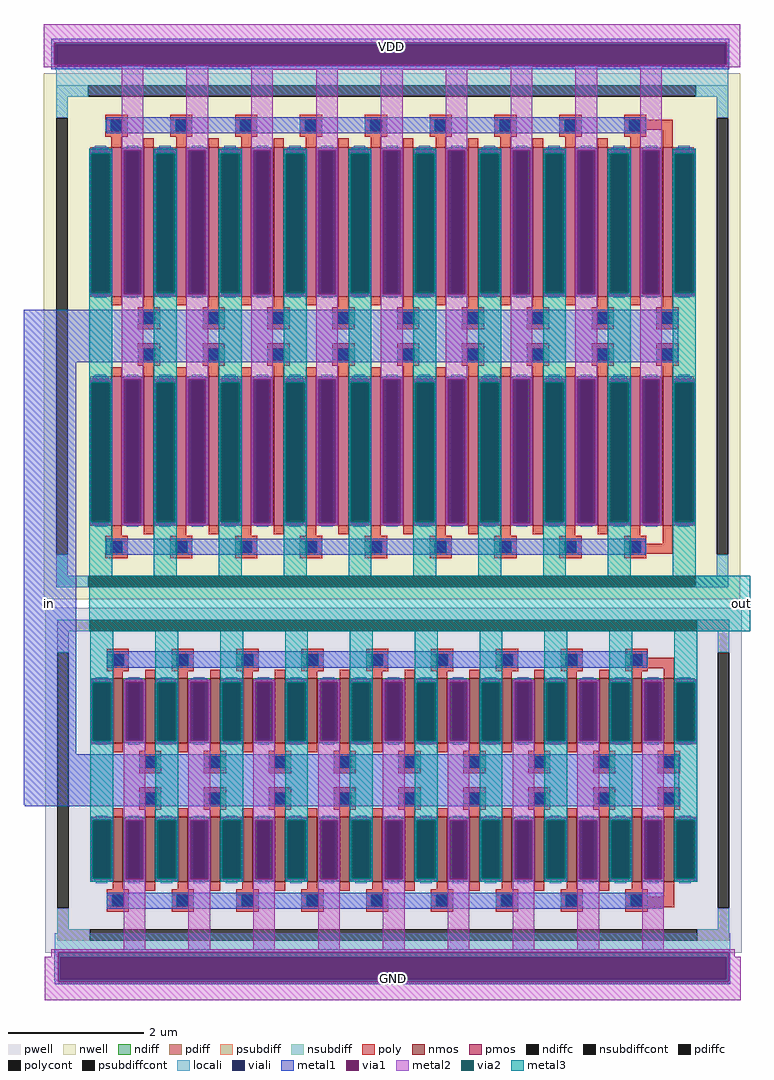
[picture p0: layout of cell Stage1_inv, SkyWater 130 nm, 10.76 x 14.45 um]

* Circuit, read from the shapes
.subckt Stage1_inv GND out VDD in
XM1 GND in out GND sky130_fd_pr__nfet_01v8 w=0.96 l=0.15 m=36
XM2 VDD in out VDD sky130_fd_pr__pfet_01v8 w=2.21 l=0.15 m=36
.ends

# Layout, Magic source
magic
tech sky130A
magscale 1 2
<< nwell >>
rect 124 792 188 1230
rect 316 792 380 1230
rect 508 792 572 1230
rect 700 792 764 1230
rect 892 792 956 1230
rect 1084 792 1148 1230
rect 1276 792 1340 1230
rect 1468 792 1532 1230
rect 1660 792 1724 1230
rect 124 114 188 552
rect 316 114 380 552
rect 508 114 572 552
rect 700 114 764 552
rect 892 114 956 552
rect 1084 114 1148 552
rect 1276 114 1340 552
rect 1468 114 1532 552
rect 1660 114 1724 552
<< pdiff >>
rect 124 1221 188 1230
rect 124 803 140 1221
rect 174 803 188 1221
rect 124 792 188 803
rect 316 1221 380 1230
rect 316 803 332 1221
rect 366 803 380 1221
rect 316 792 380 803
rect 508 1221 572 1230
rect 508 803 524 1221
rect 558 803 572 1221
rect 508 792 572 803
rect 700 1221 764 1230
rect 700 803 716 1221
rect 750 803 764 1221
rect 700 792 764 803
rect 892 1221 956 1230
rect 892 803 908 1221
rect 942 803 956 1221
rect 892 792 956 803
rect 1084 1221 1148 1230
rect 1084 803 1100 1221
rect 1134 803 1148 1221
rect 1084 792 1148 803
rect 1276 1221 1340 1230
rect 1276 803 1292 1221
rect 1326 803 1340 1221
rect 1276 792 1340 803
rect 1468 1221 1532 1230
rect 1468 803 1484 1221
rect 1518 803 1532 1221
rect 1468 792 1532 803
rect 1660 1221 1724 1230
rect 1660 803 1676 1221
rect 1710 803 1724 1221
rect 1660 792 1724 803
rect 124 543 188 552
rect 124 125 140 543
rect 174 125 188 543
rect 124 114 188 125
rect 316 543 380 552
rect 316 125 332 543
rect 366 125 380 543
rect 316 114 380 125
rect 508 543 572 552
rect 508 125 524 543
rect 558 125 572 543
rect 508 114 572 125
rect 700 543 764 552
rect 700 125 716 543
rect 750 125 764 543
rect 700 114 764 125
rect 892 543 956 552
rect 892 125 908 543
rect 942 125 956 543
rect 892 114 956 125
rect 1084 543 1148 552
rect 1084 125 1100 543
rect 1134 125 1148 543
rect 1084 114 1148 125
rect 1276 543 1340 552
rect 1276 125 1292 543
rect 1326 125 1340 543
rect 1276 114 1340 125
rect 1468 543 1532 552
rect 1468 125 1484 543
rect 1518 125 1532 543
rect 1468 114 1532 125
rect 1660 543 1724 552
rect 1660 125 1676 543
rect 1710 125 1724 543
rect 1660 114 1724 125
<< pdiffc >>
rect 140 803 174 1221
rect 332 803 366 1221
rect 524 803 558 1221
rect 716 803 750 1221
rect 908 803 942 1221
rect 1100 803 1134 1221
rect 1292 803 1326 1221
rect 1484 803 1518 1221
rect 1676 803 1710 1221
rect 140 125 174 543
rect 332 125 366 543
rect 524 125 558 543
rect 716 125 750 543
rect 908 125 942 543
rect 1100 125 1134 543
rect 1292 125 1326 543
rect 1484 125 1518 543
rect 1676 125 1710 543
<< poly >>
rect 1659 1289 1756 1315
rect 1665 1285 1756 1289
rect 1726 1233 1756 1285
rect 1726 59 1756 113
rect 1673 55 1756 59
rect 1663 29 1756 55
rect 1665 -305 1760 -279
rect 1675 -309 1760 -305
rect 1730 -340 1760 -309
rect 1730 -987 1760 -942
rect 1669 -1017 1760 -987
<< locali >>
rect -72 1536 1920 1538
rect -72 1474 -68 1536
rect 1912 1474 1920 1536
rect -72 1462 1920 1474
rect -70 1388 1920 1462
rect 140 1221 174 1230
rect 140 792 174 803
rect 332 1221 366 1230
rect 332 792 366 803
rect 524 1221 558 1230
rect 524 792 558 803
rect 716 1221 750 1230
rect 716 792 750 803
rect 908 1221 942 1230
rect 908 792 942 803
rect 1100 1221 1134 1230
rect 1100 792 1134 803
rect 1292 1221 1326 1230
rect 1292 792 1326 803
rect 1484 1221 1518 1230
rect 1484 792 1518 803
rect 1676 1221 1710 1230
rect 1676 792 1710 803
rect 140 543 174 552
rect 140 114 174 125
rect 332 543 366 552
rect 332 114 366 125
rect 524 543 558 552
rect 524 114 558 125
rect 716 543 750 552
rect 716 114 750 125
rect 908 543 942 552
rect 908 114 942 125
rect 1100 543 1134 552
rect 1100 114 1134 125
rect 1292 543 1326 552
rect 1292 114 1326 125
rect 1484 543 1518 552
rect 1484 114 1518 125
rect 1676 543 1710 552
rect 1676 114 1710 125
rect -74 -1158 1926 -1094
rect -66 -1166 1926 -1158
rect -66 -1200 -58 -1166
rect -64 -1230 -58 -1200
rect 1914 -1230 1926 -1166
rect -64 -1242 1926 -1230
<< viali >>
rect -68 1474 1912 1536
rect 140 803 174 1221
rect 332 803 366 1221
rect 524 803 558 1221
rect 716 803 750 1221
rect 908 803 942 1221
rect 1100 803 1134 1221
rect 1292 803 1326 1221
rect 1484 803 1518 1221
rect 1676 803 1710 1221
rect 140 125 174 543
rect 332 125 366 543
rect 524 125 558 543
rect 716 125 750 543
rect 908 125 942 543
rect 1100 125 1134 543
rect 1292 125 1326 543
rect 1484 125 1518 543
rect 1676 125 1710 543
rect -58 -1230 1914 -1166
<< metal1 >>
rect -84 1542 1924 1554
rect -84 1478 -76 1542
rect 1916 1478 1924 1542
rect -84 1474 -68 1478
rect 1912 1474 1924 1478
rect -84 1464 1924 1474
rect 78 1274 1676 1322
rect 30 1220 94 1226
rect 30 798 36 1220
rect 88 798 94 1220
rect 30 792 94 798
rect 124 1224 188 1230
rect 124 798 130 1224
rect 182 798 188 1224
rect 124 792 188 798
rect 222 1220 286 1226
rect 222 798 228 1220
rect 280 798 286 1220
rect 222 792 286 798
rect 316 1224 380 1230
rect 316 798 322 1224
rect 374 798 380 1224
rect 316 792 380 798
rect 414 1220 478 1226
rect 414 798 420 1220
rect 472 798 478 1220
rect 414 792 478 798
rect 508 1224 572 1230
rect 508 798 514 1224
rect 566 798 572 1224
rect 508 792 572 798
rect 606 1220 670 1226
rect 606 798 612 1220
rect 664 798 670 1220
rect 606 792 670 798
rect 700 1224 764 1230
rect 700 798 706 1224
rect 758 798 764 1224
rect 700 792 764 798
rect 798 1220 862 1226
rect 798 798 804 1220
rect 856 798 862 1220
rect 798 792 862 798
rect 892 1224 956 1230
rect 892 798 898 1224
rect 950 798 956 1224
rect 892 792 956 798
rect 990 1220 1054 1226
rect 990 798 996 1220
rect 1048 798 1054 1220
rect 990 792 1054 798
rect 1084 1224 1148 1230
rect 1084 798 1090 1224
rect 1142 798 1148 1224
rect 1084 792 1148 798
rect 1182 1220 1246 1226
rect 1182 798 1188 1220
rect 1240 798 1246 1220
rect 1182 792 1246 798
rect 1276 1224 1340 1230
rect 1276 798 1282 1224
rect 1334 798 1340 1224
rect 1276 792 1340 798
rect 1374 1220 1438 1226
rect 1374 798 1380 1220
rect 1432 798 1438 1220
rect 1374 792 1438 798
rect 1468 1224 1532 1230
rect 1468 798 1474 1224
rect 1526 798 1532 1224
rect 1468 792 1532 798
rect 1566 1220 1630 1226
rect 1566 798 1572 1220
rect 1624 798 1630 1220
rect 1566 792 1630 798
rect 1660 1224 1724 1230
rect 1660 798 1666 1224
rect 1718 798 1724 1224
rect 1660 792 1724 798
rect 1758 1220 1822 1226
rect 1758 798 1764 1220
rect 1816 798 1822 1220
rect 1758 792 1822 798
rect -166 596 1772 752
rect -166 -564 -10 596
rect 30 542 94 548
rect 30 120 36 542
rect 88 120 94 542
rect 30 114 94 120
rect 124 546 188 552
rect 124 120 130 546
rect 182 120 188 546
rect 124 114 188 120
rect 222 542 286 548
rect 222 120 228 542
rect 280 120 286 542
rect 222 114 286 120
rect 316 546 380 552
rect 316 120 322 546
rect 374 120 380 546
rect 316 114 380 120
rect 414 542 478 548
rect 414 120 420 542
rect 472 120 478 542
rect 414 114 478 120
rect 508 546 572 552
rect 508 120 514 546
rect 566 120 572 546
rect 508 114 572 120
rect 606 542 670 548
rect 606 120 612 542
rect 664 120 670 542
rect 606 114 670 120
rect 700 546 764 552
rect 700 120 706 546
rect 758 120 764 546
rect 700 114 764 120
rect 798 542 862 548
rect 798 120 804 542
rect 856 120 862 542
rect 798 114 862 120
rect 892 546 956 552
rect 892 120 898 546
rect 950 120 956 546
rect 892 114 956 120
rect 990 542 1054 548
rect 990 120 996 542
rect 1048 120 1054 542
rect 990 114 1054 120
rect 1084 546 1148 552
rect 1084 120 1090 546
rect 1142 120 1148 546
rect 1084 114 1148 120
rect 1182 542 1246 548
rect 1182 120 1188 542
rect 1240 120 1246 542
rect 1182 114 1246 120
rect 1276 546 1340 552
rect 1276 120 1282 546
rect 1334 120 1340 546
rect 1276 114 1340 120
rect 1374 542 1438 548
rect 1374 120 1380 542
rect 1432 120 1438 542
rect 1374 114 1438 120
rect 1468 546 1532 552
rect 1468 120 1474 546
rect 1526 120 1532 546
rect 1468 114 1532 120
rect 1566 542 1630 548
rect 1566 120 1572 542
rect 1624 120 1630 542
rect 1566 114 1630 120
rect 1660 546 1724 552
rect 1660 120 1666 546
rect 1718 120 1724 546
rect 1660 114 1724 120
rect 1758 542 1822 548
rect 1758 120 1764 542
rect 1816 120 1822 542
rect 1758 114 1822 120
rect 78 26 1676 74
rect 82 -308 1680 -260
rect 34 -350 98 -344
rect 34 -526 40 -350
rect 92 -526 98 -350
rect 34 -532 98 -526
rect 130 -350 194 -344
rect 130 -524 136 -350
rect 188 -524 194 -350
rect 130 -530 194 -524
rect 226 -350 290 -344
rect 226 -526 232 -350
rect 284 -526 290 -350
rect 226 -532 290 -526
rect 322 -350 386 -344
rect 322 -524 328 -350
rect 380 -524 386 -350
rect 322 -530 386 -524
rect 418 -350 482 -344
rect 418 -526 424 -350
rect 476 -526 482 -350
rect 418 -532 482 -526
rect 514 -350 578 -344
rect 514 -524 520 -350
rect 572 -524 578 -350
rect 514 -530 578 -524
rect 610 -350 674 -344
rect 610 -526 616 -350
rect 668 -526 674 -350
rect 610 -532 674 -526
rect 706 -350 770 -344
rect 706 -524 712 -350
rect 764 -524 770 -350
rect 706 -530 770 -524
rect 802 -350 866 -344
rect 802 -526 808 -350
rect 860 -526 866 -350
rect 802 -532 866 -526
rect 898 -350 962 -344
rect 898 -524 904 -350
rect 956 -524 962 -350
rect 898 -530 962 -524
rect 994 -350 1058 -344
rect 994 -526 1000 -350
rect 1052 -526 1058 -350
rect 994 -532 1058 -526
rect 1090 -350 1154 -344
rect 1090 -524 1096 -350
rect 1148 -524 1154 -350
rect 1090 -530 1154 -524
rect 1186 -350 1250 -344
rect 1186 -526 1192 -350
rect 1244 -526 1250 -350
rect 1186 -532 1250 -526
rect 1282 -350 1346 -344
rect 1282 -524 1288 -350
rect 1340 -524 1346 -350
rect 1282 -530 1346 -524
rect 1378 -350 1442 -344
rect 1378 -526 1384 -350
rect 1436 -526 1442 -350
rect 1378 -532 1442 -526
rect 1474 -350 1538 -344
rect 1474 -524 1480 -350
rect 1532 -524 1538 -350
rect 1474 -530 1538 -524
rect 1570 -350 1634 -344
rect 1570 -526 1576 -350
rect 1628 -526 1634 -350
rect 1570 -532 1634 -526
rect 1666 -350 1730 -344
rect 1666 -524 1672 -350
rect 1724 -524 1730 -350
rect 1666 -530 1730 -524
rect 1762 -350 1826 -344
rect 1762 -526 1768 -350
rect 1820 -526 1826 -350
rect 1762 -532 1826 -526
rect -166 -714 1776 -564
rect -163 -718 1776 -714
rect 34 -758 98 -752
rect 34 -934 40 -758
rect 92 -934 98 -758
rect 34 -940 98 -934
rect 130 -760 194 -754
rect 130 -934 136 -760
rect 188 -934 194 -760
rect 130 -940 194 -934
rect 226 -758 290 -752
rect 226 -934 232 -758
rect 284 -934 290 -758
rect 226 -940 290 -934
rect 322 -760 386 -754
rect 322 -934 328 -760
rect 380 -934 386 -760
rect 322 -940 386 -934
rect 418 -758 482 -752
rect 418 -934 424 -758
rect 476 -934 482 -758
rect 418 -940 482 -934
rect 514 -760 578 -754
rect 514 -934 520 -760
rect 572 -934 578 -760
rect 514 -940 578 -934
rect 610 -758 674 -752
rect 610 -934 616 -758
rect 668 -934 674 -758
rect 610 -940 674 -934
rect 706 -760 770 -754
rect 706 -934 712 -760
rect 764 -934 770 -760
rect 706 -940 770 -934
rect 802 -758 866 -752
rect 802 -934 808 -758
rect 860 -934 866 -758
rect 802 -940 866 -934
rect 898 -760 962 -754
rect 898 -934 904 -760
rect 956 -934 962 -760
rect 898 -940 962 -934
rect 994 -758 1058 -752
rect 994 -934 1000 -758
rect 1052 -934 1058 -758
rect 994 -940 1058 -934
rect 1090 -760 1154 -754
rect 1090 -934 1096 -760
rect 1148 -934 1154 -760
rect 1090 -940 1154 -934
rect 1186 -758 1250 -752
rect 1186 -934 1192 -758
rect 1244 -934 1250 -758
rect 1186 -940 1250 -934
rect 1282 -760 1346 -754
rect 1282 -934 1288 -760
rect 1340 -934 1346 -760
rect 1282 -940 1346 -934
rect 1378 -758 1442 -752
rect 1378 -934 1384 -758
rect 1436 -934 1442 -758
rect 1378 -940 1442 -934
rect 1474 -760 1538 -754
rect 1474 -934 1480 -760
rect 1532 -934 1538 -760
rect 1474 -940 1538 -934
rect 1570 -758 1634 -752
rect 1570 -934 1576 -758
rect 1628 -934 1634 -758
rect 1570 -940 1634 -934
rect 1666 -760 1730 -754
rect 1666 -934 1672 -760
rect 1724 -934 1730 -760
rect 1666 -940 1730 -934
rect 1762 -758 1826 -752
rect 1762 -934 1768 -758
rect 1820 -934 1826 -758
rect 1762 -940 1826 -934
rect 80 -1022 1730 -974
rect -76 -1148 1924 -1142
rect -76 -1150 1926 -1148
rect -76 -1234 -64 -1150
rect -74 -1238 -64 -1234
rect 1922 -1238 1926 -1150
rect -74 -1246 1926 -1238
<< via1 >>
rect -76 1536 1916 1542
rect -76 1478 -68 1536
rect -68 1478 1912 1536
rect 1912 1478 1916 1536
rect 36 798 88 1220
rect 130 1221 182 1224
rect 130 803 140 1221
rect 140 803 174 1221
rect 174 803 182 1221
rect 130 798 182 803
rect 228 798 280 1220
rect 322 1221 374 1224
rect 322 803 332 1221
rect 332 803 366 1221
rect 366 803 374 1221
rect 322 798 374 803
rect 420 798 472 1220
rect 514 1221 566 1224
rect 514 803 524 1221
rect 524 803 558 1221
rect 558 803 566 1221
rect 514 798 566 803
rect 612 798 664 1220
rect 706 1221 758 1224
rect 706 803 716 1221
rect 716 803 750 1221
rect 750 803 758 1221
rect 706 798 758 803
rect 804 798 856 1220
rect 898 1221 950 1224
rect 898 803 908 1221
rect 908 803 942 1221
rect 942 803 950 1221
rect 898 798 950 803
rect 996 798 1048 1220
rect 1090 1221 1142 1224
rect 1090 803 1100 1221
rect 1100 803 1134 1221
rect 1134 803 1142 1221
rect 1090 798 1142 803
rect 1188 798 1240 1220
rect 1282 1221 1334 1224
rect 1282 803 1292 1221
rect 1292 803 1326 1221
rect 1326 803 1334 1221
rect 1282 798 1334 803
rect 1380 798 1432 1220
rect 1474 1221 1526 1224
rect 1474 803 1484 1221
rect 1484 803 1518 1221
rect 1518 803 1526 1221
rect 1474 798 1526 803
rect 1572 798 1624 1220
rect 1666 1221 1718 1224
rect 1666 803 1676 1221
rect 1676 803 1710 1221
rect 1710 803 1718 1221
rect 1666 798 1718 803
rect 1764 798 1816 1220
rect 36 120 88 542
rect 130 543 182 546
rect 130 125 140 543
rect 140 125 174 543
rect 174 125 182 543
rect 130 120 182 125
rect 228 120 280 542
rect 322 543 374 546
rect 322 125 332 543
rect 332 125 366 543
rect 366 125 374 543
rect 322 120 374 125
rect 420 120 472 542
rect 514 543 566 546
rect 514 125 524 543
rect 524 125 558 543
rect 558 125 566 543
rect 514 120 566 125
rect 612 120 664 542
rect 706 543 758 546
rect 706 125 716 543
rect 716 125 750 543
rect 750 125 758 543
rect 706 120 758 125
rect 804 120 856 542
rect 898 543 950 546
rect 898 125 908 543
rect 908 125 942 543
rect 942 125 950 543
rect 898 120 950 125
rect 996 120 1048 542
rect 1090 543 1142 546
rect 1090 125 1100 543
rect 1100 125 1134 543
rect 1134 125 1142 543
rect 1090 120 1142 125
rect 1188 120 1240 542
rect 1282 543 1334 546
rect 1282 125 1292 543
rect 1292 125 1326 543
rect 1326 125 1334 543
rect 1282 120 1334 125
rect 1380 120 1432 542
rect 1474 543 1526 546
rect 1474 125 1484 543
rect 1484 125 1518 543
rect 1518 125 1526 543
rect 1474 120 1526 125
rect 1572 120 1624 542
rect 1666 543 1718 546
rect 1666 125 1676 543
rect 1676 125 1710 543
rect 1710 125 1718 543
rect 1666 120 1718 125
rect 1764 120 1816 542
rect 40 -526 92 -350
rect 136 -524 188 -350
rect 232 -526 284 -350
rect 328 -524 380 -350
rect 424 -526 476 -350
rect 520 -524 572 -350
rect 616 -526 668 -350
rect 712 -524 764 -350
rect 808 -526 860 -350
rect 904 -524 956 -350
rect 1000 -526 1052 -350
rect 1096 -524 1148 -350
rect 1192 -526 1244 -350
rect 1288 -524 1340 -350
rect 1384 -526 1436 -350
rect 1480 -524 1532 -350
rect 1576 -526 1628 -350
rect 1672 -524 1724 -350
rect 1768 -526 1820 -350
rect 40 -934 92 -758
rect 136 -934 188 -760
rect 232 -934 284 -758
rect 328 -934 380 -760
rect 424 -934 476 -758
rect 520 -934 572 -760
rect 616 -934 668 -758
rect 712 -934 764 -760
rect 808 -934 860 -758
rect 904 -934 956 -760
rect 1000 -934 1052 -758
rect 1096 -934 1148 -760
rect 1192 -934 1244 -758
rect 1288 -934 1340 -760
rect 1384 -934 1436 -758
rect 1480 -934 1532 -760
rect 1576 -934 1628 -758
rect 1672 -934 1724 -760
rect 1768 -934 1820 -758
rect -64 -1166 1922 -1150
rect -64 -1230 -58 -1166
rect -58 -1230 1914 -1166
rect 1914 -1230 1922 -1166
rect -64 -1238 1922 -1230
<< metal2 >>
rect -106 1542 1956 1598
rect -106 1478 -76 1542
rect 1916 1478 1956 1542
rect -106 1470 1956 1478
rect 30 1220 94 1226
rect 30 1214 36 1220
rect 88 1214 94 1220
rect 30 802 34 1214
rect 90 802 94 1214
rect 30 798 36 802
rect 88 798 94 802
rect 30 792 94 798
rect 124 1224 188 1470
rect 124 798 130 1224
rect 182 798 188 1224
rect 30 542 94 548
rect 30 536 36 542
rect 88 536 94 542
rect 30 124 34 536
rect 90 124 94 536
rect 30 120 36 124
rect 88 120 94 124
rect 30 114 94 120
rect 124 546 188 798
rect 222 1220 286 1226
rect 222 1214 228 1220
rect 280 1214 286 1220
rect 222 802 226 1214
rect 282 802 286 1214
rect 222 798 228 802
rect 280 798 286 802
rect 222 792 286 798
rect 316 1224 380 1470
rect 508 1462 1242 1470
rect 316 798 322 1224
rect 374 798 380 1224
rect 124 120 130 546
rect 182 120 188 546
rect 124 114 188 120
rect 222 542 286 548
rect 222 536 228 542
rect 280 536 286 542
rect 222 124 226 536
rect 282 124 286 536
rect 222 120 228 124
rect 280 120 286 124
rect 222 114 286 120
rect 316 546 380 798
rect 414 1220 478 1226
rect 414 1214 420 1220
rect 472 1214 478 1220
rect 414 802 418 1214
rect 474 802 478 1214
rect 414 798 420 802
rect 472 798 478 802
rect 414 792 478 798
rect 508 1224 572 1462
rect 508 798 514 1224
rect 566 798 572 1224
rect 316 120 322 546
rect 374 120 380 546
rect 316 114 380 120
rect 414 542 478 548
rect 414 536 420 542
rect 472 536 478 542
rect 414 124 418 536
rect 474 124 478 536
rect 414 120 420 124
rect 472 120 478 124
rect 414 114 478 120
rect 508 546 572 798
rect 606 1220 670 1226
rect 606 1214 612 1220
rect 664 1214 670 1220
rect 606 802 610 1214
rect 666 802 670 1214
rect 606 798 612 802
rect 664 798 670 802
rect 606 792 670 798
rect 700 1224 764 1462
rect 700 798 706 1224
rect 758 798 764 1224
rect 508 120 514 546
rect 566 120 572 546
rect 508 114 572 120
rect 606 542 670 548
rect 606 536 612 542
rect 664 536 670 542
rect 606 124 610 536
rect 666 124 670 536
rect 606 120 612 124
rect 664 120 670 124
rect 606 114 670 120
rect 700 546 764 798
rect 798 1220 862 1226
rect 798 1214 804 1220
rect 856 1214 862 1220
rect 798 802 802 1214
rect 858 802 862 1214
rect 798 798 804 802
rect 856 798 862 802
rect 798 792 862 798
rect 892 1224 956 1462
rect 892 798 898 1224
rect 950 798 956 1224
rect 700 120 706 546
rect 758 120 764 546
rect 700 114 764 120
rect 798 542 862 548
rect 798 536 804 542
rect 856 536 862 542
rect 798 124 802 536
rect 858 124 862 536
rect 798 120 804 124
rect 856 120 862 124
rect 798 114 862 120
rect 892 546 956 798
rect 990 1220 1054 1226
rect 990 1214 996 1220
rect 1048 1214 1054 1220
rect 990 802 994 1214
rect 1050 802 1054 1214
rect 990 798 996 802
rect 1048 798 1054 802
rect 990 792 1054 798
rect 1084 1224 1148 1462
rect 1084 798 1090 1224
rect 1142 798 1148 1224
rect 892 120 898 546
rect 950 120 956 546
rect 892 114 956 120
rect 990 542 1054 548
rect 990 536 996 542
rect 1048 536 1054 542
rect 990 124 994 536
rect 1050 124 1054 536
rect 990 120 996 124
rect 1048 120 1054 124
rect 990 114 1054 120
rect 1084 546 1148 798
rect 1182 1220 1246 1226
rect 1182 1214 1188 1220
rect 1240 1214 1246 1220
rect 1182 802 1186 1214
rect 1242 802 1246 1214
rect 1182 798 1188 802
rect 1240 798 1246 802
rect 1182 792 1246 798
rect 1276 1224 1340 1470
rect 1276 798 1282 1224
rect 1334 798 1340 1224
rect 1084 120 1090 546
rect 1142 120 1148 546
rect 1084 114 1148 120
rect 1182 542 1246 548
rect 1182 536 1188 542
rect 1240 536 1246 542
rect 1182 124 1186 536
rect 1242 124 1246 536
rect 1182 120 1188 124
rect 1240 120 1246 124
rect 1182 114 1246 120
rect 1276 546 1340 798
rect 1374 1220 1438 1226
rect 1374 1214 1380 1220
rect 1432 1214 1438 1220
rect 1374 802 1378 1214
rect 1434 802 1438 1214
rect 1374 798 1380 802
rect 1432 798 1438 802
rect 1374 792 1438 798
rect 1468 1224 1532 1470
rect 1468 798 1474 1224
rect 1526 798 1532 1224
rect 1276 120 1282 546
rect 1334 120 1340 546
rect 1276 114 1340 120
rect 1374 542 1438 548
rect 1374 536 1380 542
rect 1432 536 1438 542
rect 1374 124 1378 536
rect 1434 124 1438 536
rect 1374 120 1380 124
rect 1432 120 1438 124
rect 1374 114 1438 120
rect 1468 546 1532 798
rect 1566 1220 1630 1226
rect 1566 1214 1572 1220
rect 1624 1214 1630 1220
rect 1566 802 1570 1214
rect 1626 802 1630 1214
rect 1566 798 1572 802
rect 1624 798 1630 802
rect 1566 792 1630 798
rect 1660 1224 1724 1470
rect 1660 798 1666 1224
rect 1718 798 1724 1224
rect 1468 120 1474 546
rect 1526 120 1532 546
rect 1468 114 1532 120
rect 1566 542 1630 548
rect 1566 536 1572 542
rect 1624 536 1630 542
rect 1566 124 1570 536
rect 1626 124 1630 536
rect 1566 120 1572 124
rect 1624 120 1630 124
rect 1566 114 1630 120
rect 1660 546 1724 798
rect 1758 1220 1822 1226
rect 1758 1214 1764 1220
rect 1816 1214 1822 1220
rect 1758 802 1762 1214
rect 1818 802 1822 1214
rect 1758 798 1764 802
rect 1816 798 1822 802
rect 1758 792 1822 798
rect 1660 120 1666 546
rect 1718 120 1724 546
rect 1660 114 1724 120
rect 1758 542 1822 548
rect 1758 536 1764 542
rect 1816 536 1822 542
rect 1758 124 1762 536
rect 1818 124 1822 536
rect 1758 120 1764 124
rect 1816 120 1822 124
rect 1758 114 1822 120
rect 34 -350 100 -342
rect 34 -352 40 -350
rect 92 -352 100 -350
rect 34 -524 38 -352
rect 94 -524 100 -352
rect 34 -526 40 -524
rect 92 -526 100 -524
rect 34 -534 100 -526
rect 130 -350 194 -344
rect 130 -524 136 -350
rect 188 -524 194 -350
rect 34 -758 100 -750
rect 34 -760 40 -758
rect 92 -760 100 -758
rect 34 -932 38 -760
rect 94 -932 100 -760
rect 34 -934 40 -932
rect 92 -934 100 -932
rect 34 -942 100 -934
rect 130 -760 194 -524
rect 226 -350 292 -342
rect 226 -352 232 -350
rect 284 -352 292 -350
rect 226 -524 230 -352
rect 286 -524 292 -352
rect 226 -526 232 -524
rect 284 -526 292 -524
rect 226 -534 292 -526
rect 322 -350 386 -344
rect 322 -524 328 -350
rect 380 -524 386 -350
rect 130 -934 136 -760
rect 188 -934 194 -760
rect 130 -1142 194 -934
rect 226 -758 292 -750
rect 226 -760 232 -758
rect 284 -760 292 -758
rect 226 -932 230 -760
rect 286 -932 292 -760
rect 226 -934 232 -932
rect 284 -934 292 -932
rect 226 -942 292 -934
rect 322 -760 386 -524
rect 418 -350 484 -342
rect 418 -352 424 -350
rect 476 -352 484 -350
rect 418 -524 422 -352
rect 478 -524 484 -352
rect 418 -526 424 -524
rect 476 -526 484 -524
rect 418 -534 484 -526
rect 514 -350 578 -344
rect 514 -524 520 -350
rect 572 -524 578 -350
rect 322 -934 328 -760
rect 380 -934 386 -760
rect 322 -1142 386 -934
rect 418 -758 484 -750
rect 418 -760 424 -758
rect 476 -760 484 -758
rect 418 -932 422 -760
rect 478 -932 484 -760
rect 418 -934 424 -932
rect 476 -934 484 -932
rect 418 -942 484 -934
rect 514 -760 578 -524
rect 610 -350 676 -342
rect 610 -352 616 -350
rect 668 -352 676 -350
rect 610 -524 614 -352
rect 670 -524 676 -352
rect 610 -526 616 -524
rect 668 -526 676 -524
rect 610 -534 676 -526
rect 706 -350 770 -344
rect 706 -524 712 -350
rect 764 -524 770 -350
rect 514 -934 520 -760
rect 572 -934 578 -760
rect 514 -1142 578 -934
rect 610 -758 676 -750
rect 610 -760 616 -758
rect 668 -760 676 -758
rect 610 -932 614 -760
rect 670 -932 676 -760
rect 610 -934 616 -932
rect 668 -934 676 -932
rect 610 -942 676 -934
rect 706 -760 770 -524
rect 802 -350 868 -342
rect 802 -352 808 -350
rect 860 -352 868 -350
rect 802 -524 806 -352
rect 862 -524 868 -352
rect 802 -526 808 -524
rect 860 -526 868 -524
rect 802 -534 868 -526
rect 898 -350 962 -344
rect 898 -524 904 -350
rect 956 -524 962 -350
rect 706 -934 712 -760
rect 764 -934 770 -760
rect 706 -1142 770 -934
rect 802 -758 868 -750
rect 802 -760 808 -758
rect 860 -760 868 -758
rect 802 -932 806 -760
rect 862 -932 868 -760
rect 802 -934 808 -932
rect 860 -934 868 -932
rect 802 -942 868 -934
rect 898 -760 962 -524
rect 994 -350 1060 -342
rect 994 -352 1000 -350
rect 1052 -352 1060 -350
rect 994 -524 998 -352
rect 1054 -524 1060 -352
rect 994 -526 1000 -524
rect 1052 -526 1060 -524
rect 994 -534 1060 -526
rect 1090 -350 1154 -344
rect 1090 -524 1096 -350
rect 1148 -524 1154 -350
rect 898 -934 904 -760
rect 956 -934 962 -760
rect 898 -1142 962 -934
rect 994 -758 1060 -750
rect 994 -760 1000 -758
rect 1052 -760 1060 -758
rect 994 -932 998 -760
rect 1054 -932 1060 -760
rect 994 -934 1000 -932
rect 1052 -934 1060 -932
rect 994 -942 1060 -934
rect 1090 -760 1154 -524
rect 1186 -350 1252 -342
rect 1186 -352 1192 -350
rect 1244 -352 1252 -350
rect 1186 -524 1190 -352
rect 1246 -524 1252 -352
rect 1186 -526 1192 -524
rect 1244 -526 1252 -524
rect 1186 -534 1252 -526
rect 1282 -350 1346 -344
rect 1282 -524 1288 -350
rect 1340 -524 1346 -350
rect 1090 -934 1096 -760
rect 1148 -934 1154 -760
rect 1090 -1142 1154 -934
rect 1186 -758 1252 -750
rect 1186 -760 1192 -758
rect 1244 -760 1252 -758
rect 1186 -932 1190 -760
rect 1246 -932 1252 -760
rect 1186 -934 1192 -932
rect 1244 -934 1252 -932
rect 1186 -942 1252 -934
rect 1282 -760 1346 -524
rect 1378 -350 1444 -342
rect 1378 -352 1384 -350
rect 1436 -352 1444 -350
rect 1378 -524 1382 -352
rect 1438 -524 1444 -352
rect 1378 -526 1384 -524
rect 1436 -526 1444 -524
rect 1378 -534 1444 -526
rect 1474 -350 1538 -344
rect 1474 -524 1480 -350
rect 1532 -524 1538 -350
rect 1282 -934 1288 -760
rect 1340 -934 1346 -760
rect 1282 -1142 1346 -934
rect 1378 -758 1444 -750
rect 1378 -760 1384 -758
rect 1436 -760 1444 -758
rect 1378 -932 1382 -760
rect 1438 -932 1444 -760
rect 1378 -934 1384 -932
rect 1436 -934 1444 -932
rect 1378 -942 1444 -934
rect 1474 -760 1538 -524
rect 1570 -350 1636 -342
rect 1570 -352 1576 -350
rect 1628 -352 1636 -350
rect 1570 -524 1574 -352
rect 1630 -524 1636 -352
rect 1570 -526 1576 -524
rect 1628 -526 1636 -524
rect 1570 -534 1636 -526
rect 1666 -350 1730 -344
rect 1666 -524 1672 -350
rect 1724 -524 1730 -350
rect 1474 -934 1480 -760
rect 1532 -934 1538 -760
rect 1474 -1142 1538 -934
rect 1570 -758 1636 -750
rect 1570 -760 1576 -758
rect 1628 -760 1636 -758
rect 1570 -932 1574 -760
rect 1630 -932 1636 -760
rect 1570 -934 1576 -932
rect 1628 -934 1636 -932
rect 1570 -942 1636 -934
rect 1666 -760 1730 -524
rect 1762 -350 1828 -342
rect 1762 -352 1768 -350
rect 1820 -352 1828 -350
rect 1762 -524 1766 -352
rect 1822 -524 1828 -352
rect 1762 -526 1768 -524
rect 1820 -526 1828 -524
rect 1762 -534 1828 -526
rect 1666 -934 1672 -760
rect 1724 -934 1730 -760
rect 1666 -1142 1730 -934
rect 1762 -758 1828 -750
rect 1762 -760 1768 -758
rect 1820 -760 1828 -758
rect 1762 -932 1766 -760
rect 1822 -932 1828 -760
rect 1762 -934 1768 -932
rect 1820 -934 1828 -932
rect 1762 -942 1828 -934
rect -84 -1150 1940 -1142
rect -84 -1164 -64 -1150
rect -104 -1238 -64 -1164
rect 1922 -1164 1940 -1150
rect 1922 -1238 1958 -1164
rect -104 -1292 1958 -1238
<< via2 >>
rect 34 802 36 1214
rect 36 802 88 1214
rect 88 802 90 1214
rect 34 124 36 536
rect 36 124 88 536
rect 88 124 90 536
rect 226 802 228 1214
rect 228 802 280 1214
rect 280 802 282 1214
rect 226 124 228 536
rect 228 124 280 536
rect 280 124 282 536
rect 418 802 420 1214
rect 420 802 472 1214
rect 472 802 474 1214
rect 418 124 420 536
rect 420 124 472 536
rect 472 124 474 536
rect 610 802 612 1214
rect 612 802 664 1214
rect 664 802 666 1214
rect 610 124 612 536
rect 612 124 664 536
rect 664 124 666 536
rect 802 802 804 1214
rect 804 802 856 1214
rect 856 802 858 1214
rect 802 124 804 536
rect 804 124 856 536
rect 856 124 858 536
rect 994 802 996 1214
rect 996 802 1048 1214
rect 1048 802 1050 1214
rect 994 124 996 536
rect 996 124 1048 536
rect 1048 124 1050 536
rect 1186 802 1188 1214
rect 1188 802 1240 1214
rect 1240 802 1242 1214
rect 1186 124 1188 536
rect 1188 124 1240 536
rect 1240 124 1242 536
rect 1378 802 1380 1214
rect 1380 802 1432 1214
rect 1432 802 1434 1214
rect 1378 124 1380 536
rect 1380 124 1432 536
rect 1432 124 1434 536
rect 1570 802 1572 1214
rect 1572 802 1624 1214
rect 1624 802 1626 1214
rect 1570 124 1572 536
rect 1572 124 1624 536
rect 1624 124 1626 536
rect 1762 802 1764 1214
rect 1764 802 1816 1214
rect 1816 802 1818 1214
rect 1762 124 1764 536
rect 1764 124 1816 536
rect 1816 124 1818 536
rect 38 -524 40 -352
rect 40 -524 92 -352
rect 92 -524 94 -352
rect 38 -932 40 -760
rect 40 -932 92 -760
rect 92 -932 94 -760
rect 230 -524 232 -352
rect 232 -524 284 -352
rect 284 -524 286 -352
rect 230 -932 232 -760
rect 232 -932 284 -760
rect 284 -932 286 -760
rect 422 -524 424 -352
rect 424 -524 476 -352
rect 476 -524 478 -352
rect 422 -932 424 -760
rect 424 -932 476 -760
rect 476 -932 478 -760
rect 614 -524 616 -352
rect 616 -524 668 -352
rect 668 -524 670 -352
rect 614 -932 616 -760
rect 616 -932 668 -760
rect 668 -932 670 -760
rect 806 -524 808 -352
rect 808 -524 860 -352
rect 860 -524 862 -352
rect 806 -932 808 -760
rect 808 -932 860 -760
rect 860 -932 862 -760
rect 998 -524 1000 -352
rect 1000 -524 1052 -352
rect 1052 -524 1054 -352
rect 998 -932 1000 -760
rect 1000 -932 1052 -760
rect 1052 -932 1054 -760
rect 1190 -524 1192 -352
rect 1192 -524 1244 -352
rect 1244 -524 1246 -352
rect 1190 -932 1192 -760
rect 1192 -932 1244 -760
rect 1244 -932 1246 -760
rect 1382 -524 1384 -352
rect 1384 -524 1436 -352
rect 1436 -524 1438 -352
rect 1382 -932 1384 -760
rect 1384 -932 1436 -760
rect 1436 -932 1438 -760
rect 1574 -524 1576 -352
rect 1576 -524 1628 -352
rect 1628 -524 1630 -352
rect 1574 -932 1576 -760
rect 1576 -932 1628 -760
rect 1628 -932 1630 -760
rect 1766 -524 1768 -352
rect 1768 -524 1820 -352
rect 1820 -524 1822 -352
rect 1766 -932 1768 -760
rect 1768 -932 1820 -760
rect 1820 -932 1822 -760
<< metal3 >>
rect 28 1214 96 1228
rect 28 802 34 1214
rect 90 802 96 1214
rect 28 536 96 802
rect 28 124 34 536
rect 90 124 96 536
rect 28 -36 96 124
rect 220 1214 288 1228
rect 220 802 226 1214
rect 282 802 288 1214
rect 220 536 288 802
rect 220 124 226 536
rect 282 124 288 536
rect 220 -36 288 124
rect 412 1214 480 1228
rect 412 802 418 1214
rect 474 802 480 1214
rect 412 536 480 802
rect 412 124 418 536
rect 474 124 480 536
rect 412 -36 480 124
rect 604 1214 672 1228
rect 604 802 610 1214
rect 666 802 672 1214
rect 604 536 672 802
rect 604 124 610 536
rect 666 124 672 536
rect 604 -36 672 124
rect 796 1214 864 1228
rect 796 802 802 1214
rect 858 802 864 1214
rect 796 536 864 802
rect 796 124 802 536
rect 858 124 864 536
rect 796 -36 864 124
rect 988 1214 1056 1228
rect 988 802 994 1214
rect 1050 802 1056 1214
rect 988 536 1056 802
rect 988 124 994 536
rect 1050 124 1056 536
rect 988 -36 1056 124
rect 1180 1214 1248 1228
rect 1180 802 1186 1214
rect 1242 802 1248 1214
rect 1180 536 1248 802
rect 1180 124 1186 536
rect 1242 124 1248 536
rect 1180 -36 1248 124
rect 1372 1214 1440 1228
rect 1372 802 1378 1214
rect 1434 802 1440 1214
rect 1372 536 1440 802
rect 1372 124 1378 536
rect 1434 124 1440 536
rect 1372 -36 1440 124
rect 1564 1214 1632 1228
rect 1564 802 1570 1214
rect 1626 802 1632 1214
rect 1564 536 1632 802
rect 1564 124 1570 536
rect 1626 124 1632 536
rect 1564 -36 1632 124
rect 1756 1214 1824 1228
rect 1756 802 1762 1214
rect 1818 802 1824 1214
rect 1756 536 1824 802
rect 1756 124 1762 536
rect 1818 124 1824 536
rect 1756 -36 1824 124
rect 28 -200 1986 -36
rect 32 -352 100 -200
rect 32 -524 38 -352
rect 94 -524 100 -352
rect 32 -760 100 -524
rect 32 -932 38 -760
rect 94 -932 100 -760
rect 32 -942 100 -932
rect 224 -352 292 -200
rect 224 -524 230 -352
rect 286 -524 292 -352
rect 224 -760 292 -524
rect 224 -932 230 -760
rect 286 -932 292 -760
rect 224 -942 292 -932
rect 416 -352 484 -200
rect 416 -524 422 -352
rect 478 -524 484 -352
rect 416 -760 484 -524
rect 416 -932 422 -760
rect 478 -932 484 -760
rect 416 -942 484 -932
rect 608 -352 676 -200
rect 608 -524 614 -352
rect 670 -524 676 -352
rect 608 -760 676 -524
rect 608 -932 614 -760
rect 670 -932 676 -760
rect 608 -942 676 -932
rect 800 -352 868 -200
rect 800 -524 806 -352
rect 862 -524 868 -352
rect 800 -760 868 -524
rect 800 -932 806 -760
rect 862 -932 868 -760
rect 800 -942 868 -932
rect 992 -352 1060 -200
rect 992 -524 998 -352
rect 1054 -524 1060 -352
rect 992 -760 1060 -524
rect 992 -932 998 -760
rect 1054 -932 1060 -760
rect 992 -942 1060 -932
rect 1184 -352 1252 -200
rect 1184 -524 1190 -352
rect 1246 -524 1252 -352
rect 1184 -760 1252 -524
rect 1184 -932 1190 -760
rect 1246 -932 1252 -760
rect 1184 -942 1252 -932
rect 1376 -352 1444 -200
rect 1376 -524 1382 -352
rect 1438 -524 1444 -352
rect 1376 -760 1444 -524
rect 1376 -932 1382 -760
rect 1438 -932 1444 -760
rect 1376 -942 1444 -932
rect 1568 -352 1636 -200
rect 1568 -524 1574 -352
rect 1630 -524 1636 -352
rect 1568 -760 1636 -524
rect 1568 -932 1574 -760
rect 1630 -932 1636 -760
rect 1568 -942 1636 -932
rect 1760 -352 1828 -200
rect 1760 -524 1766 -352
rect 1822 -524 1828 -352
rect 1760 -760 1828 -524
rect 1760 -932 1766 -760
rect 1822 -932 1828 -760
rect 1760 -942 1828 -932
use sky130_fd_pr__pfet_01v8_VNEHM9  sky130_fd_pr__pfet_01v8_VNEHM9_0
transform 1 0 925 0 1 673
box -1031 -779 1031 779
use sky130_fd_pr__nfet_01v8_BBTBMZ  sky130_fd_pr__nfet_01v8_BBTBMZ_0
transform 1 0 929 0 1 -641
box -1031 -511 1031 511
<< labels >>
rlabel metal3 1934 -200 1986 -36 1 out
port 3 n
rlabel metal2 -100 1480 1946 1582 1 VDD
port 4 n
rlabel metal2 -94 -1278 1952 -1176 1 GND
port 2 n
rlabel metal1 -160 -220 -16 -16 1 in
port 5 n
<< end >>

# cell sky130_fd_pr__pfet_01v8_VNEHM9: kit device sky130_fd_pr__pfet_01v8, w 2.21 l 0.15 m 2 nf 18 diffcov 100 polycov 100 guard 1 glc 1 grc 1 gtc 1 gbc 1 tbcov 100 rlcov 100 topc 1 botc 1 poverlap 1 doverlap 1 lmin 0.15 wmin 0.42 compatible {sky130_fd_pr__pfet_01v8 sky130_fd_pr__pfet_01v8_lvt sky130_fd_pr__pfet_01v8_hvt sky130_fd_pr__pfet_g5v0d10v5} full_metal 1 viasrc 100 viadrn 100 viagate 100 viagb 0 viagr 0 viagl 0 viagt 0

# cell sky130_fd_pr__nfet_01v8_BBTBMZ: kit device sky130_fd_pr__nfet_01v8, w 0.96 l 0.150 m 2 nf 18 diffcov 100 polycov 100 guard 1 glc 1 grc 1 gtc 1 gbc 1 tbcov 100 rlcov 100 topc 1 botc 1 poverlap 0 doverlap 1 lmin 0.15 wmin 0.42 compatible {sky130_fd_pr__nfet_01v8 sky130_fd_pr__nfet_01v8_lvt sky130_fd_bs_flash__special_sonosfet_star sky130_fd_pr__nfet_g5v0d10v5 sky130_fd_pr__nfet_05v0_nvt sky130_fd_pr__nfet_03v3_nvt} full_metal 1 viasrc 100 viadrn 100 viagate 100 viagb 0 viagr 0 viagl 0 viagt 0
